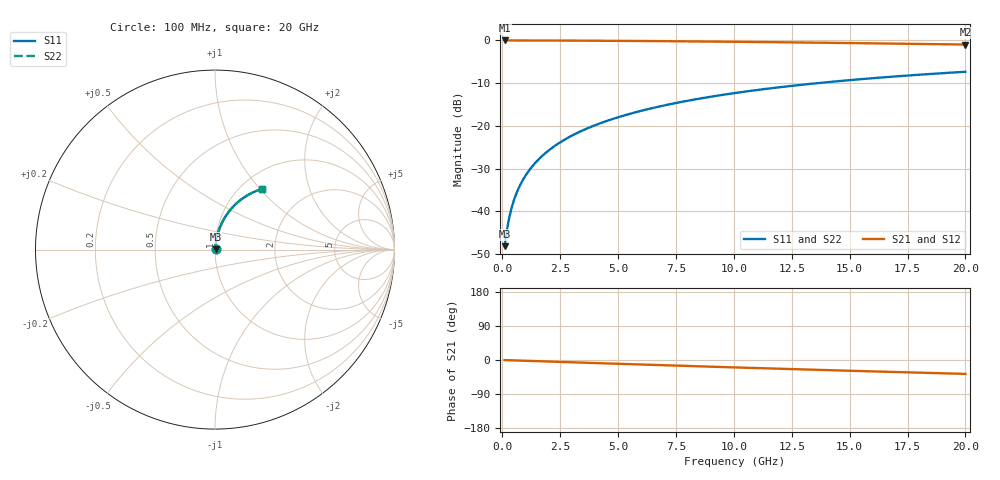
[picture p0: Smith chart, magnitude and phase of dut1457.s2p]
! Touchstone file exported from HFSS 2026.1.0
!  File:  C:/ffzhzh/LocalFiles/Ansys_Project_Files/temp_train_TMRDL_1457_1783167294_43440.aedt
!  Generated:  08:16:09 PM Jul  4, 2026
!  Design:  TMRDL
!  Project:  temp_train_TMRDL_1457_1783167294_43440
! Variables:
!  h_bsmrdl = 2um
!  h_ox = 20um
!  h_rdl = 5um
!  h_sub = 80um
!  h_tmrdl = 4.49um
!  h_tsv = 80um
!  h_via = 3um
!  l_bsmrdl = 300um
!  l_sub = 854.38um
!  l_tmrdl = 454.38um
!  m_sub = 200um
!  pitch = 52.72um
!  r_tsv = 6um
!  s_tmrdl = 10um
!  w_bsmrdl = 18um
!  w_sub = 500um
!  w_tmrdl = 12.84um
!  x_tsv_center1 = 460.8um
!  x_tsv_center2 = 778.8um
!  x_tsv_center3 = 1246.02um
!  x_tsv_center4 = 1564.02um
!  x_tsv_center5 = 2031.24um
!  x_tsv_center6 = 2349.24um
# GHz S MA R 50.000000
! Terminal data exported
! Port[1] = TM_RDL1_1_T1
! Port[2] = TM_RDL1_1_T2
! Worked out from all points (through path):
!   200 points, 100 MHz to 20 GHz, reference 50 ohm
!   highest |S21| = -0.02 dB at 100 MHz (marker M1); lowest = -1.0 dB at 20 GHz (marker M2)
!   group delay of S21, straight-line fit = 5.1 ps
!   lowest |S11| = -48.1 dB at 100 MHz (marker M3), VSWR 1.01, Z = 50.3 + j0.267 ohm
!   |S11| at or under -10 dB: start of sweep to 13.63 GHz
!   |S22| runs from -48.1 to -7.4 dB; largest |S21 - S12| = 2.7e-15
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0.1  0.003915 42.6  0.9971 -0.2  0.9971 -0.2  0.003915 42.6
! Gamma 0 0 0 0
! Port Impedance 50 0 50 0
0.2  0.006056 60.8  0.9971 -0.4  0.9971 -0.4  0.006056 60.8
0.3  0.008468 68.8  0.997 -0.6  0.997 -0.6  0.008468 68.8
0.4  0.01095 73.0  0.9969 -0.8  0.9969 -0.8  0.01095 73.0
0.5  0.01346 75.6  0.9968 -1.0  0.9968 -1.0  0.01346 75.6
0.6  0.01598 77.4  0.9967 -1.2  0.9967 -1.2  0.01598 77.4
0.8  0.02104 79.5  0.9965 -1.6  0.9965 -1.6  0.02104 79.5
1.1  0.02865 81.0  0.9963 -2.2  0.9963 -2.2  0.02865 81.0
1.5  0.03881 81.8  0.9958 -3.0  0.9958 -3.0  0.03881 81.8
1.8  0.04642 81.9  0.9953 -3.6  0.9953 -3.6  0.04642 81.9
2.1  0.05403 81.8  0.9948 -4.3  0.9948 -4.3  0.05403 81.8
2.7  0.06917 81.2  0.9936 -5.5  0.9936 -5.5  0.06917 81.2
3.5  0.08919 80.1  0.9916 -7.0  0.9916 -7.0  0.08919 80.1
4.2  0.1065 79.0  0.9895 -8.4  0.9895 -8.4  0.1065 79.0
5  0.126 77.6  0.9867 -10.0  0.9867 -10.0  0.126 77.6
5.9  0.1477 76.0  0.9832 -11.8  0.9832 -11.8  0.1477 76.0
6.8  0.1689 74.3  0.9793 -13.5  0.9793 -13.5  0.1689 74.3
8.3  0.2034 71.6  0.972 -16.3  0.972 -16.3  0.2034 71.6
10.1  0.2432 68.4  0.962 -19.7  0.962 -19.7  0.2432 68.4
13.4  0.3116 62.7  0.9412 -25.6  0.9412 -25.6  0.3116 62.7
16.7  0.3736 57.2  0.9178 -31.3  0.9178 -31.3  0.3736 57.2
20  0.429 52.0  0.8931 -36.7  0.8931 -36.7  0.429 52.0
